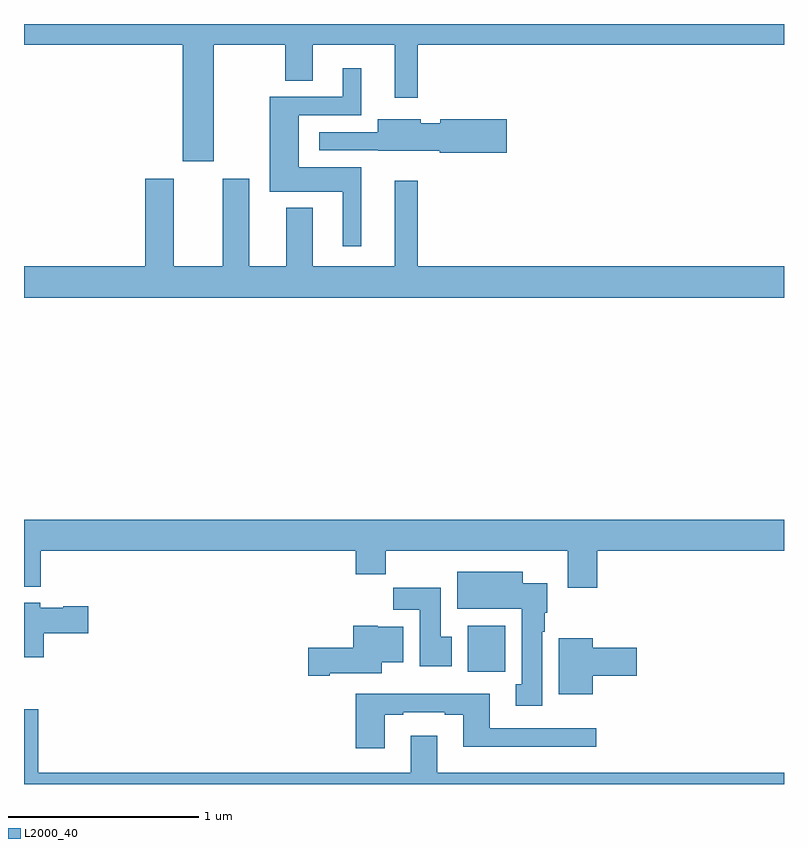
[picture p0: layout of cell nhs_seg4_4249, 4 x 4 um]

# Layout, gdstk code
import gdstk
lib = gdstk.Library(unit=1e-6, precision=1e-09)
def R(c, l, rs):  # rectangles x0, y0, x1, y1
    for r in rs: c.add(gdstk.rectangle(r[:2], r[2:], *l))
def P(c, l, *ps):  # polygons
    for p in ps: c.add(gdstk.Polygon(p, *l))
L2000_40 = (2000, 40)

nhs_seg4_4249 = lib.new_cell('nhs_seg4_4249')
R(nhs_seg4_4249, L2000_40, [(339.335,821.492,339.532,821.734)])
P(nhs_seg4_4249, L2000_40, [(337.999,824.792),(338.374,824.792),(338.374,824.602),(338.521,824.602),(338.521,824.792),(338.951,824.792),(338.951,824.511),(339.073,824.511),(339.073,824.792),(341,824.792),(341,824.9),(337,824.9),(337,824.792),(337.835,824.792),(337.835,824.178),(337.999,824.178)],
  [(338.776,824.146),(338.446,824.146),(338.446,824.421),(338.776,824.421),(338.776,824.668),(338.678,824.668),(338.678,824.517),(338.293,824.517),(338.293,824.018),(338.678,824.018),(338.678,823.731),(338.776,823.731)],
  [(339.541,824.4),(339.192,824.4),(339.192,824.377),(339.088,824.377),(339.088,824.398),(338.861,824.398),(338.861,824.331),(338.553,824.331),(338.553,824.235),(338.865,824.235),(338.865,824.234),(339.188,824.234),(339.188,824.222),(339.541,824.222)],
  [(341,823.624),(339.073,823.624),(339.073,824.074),(338.951,824.074),(338.951,823.624),(338.521,823.624),(338.521,823.933),(338.381,823.933),(338.381,823.624),(338.185,823.624),(338.185,824.086),(338.045,824.086),(338.045,823.624),(337.789,823.624),(337.789,824.086),(337.637,824.086),(337.637,823.624),(337,823.624),(337,823.46),(341,823.46)],
  [(340.016,822.128),(341,822.128),(341,822.292),(337,822.292),(337,821.939),(337.088,821.939),(337.088,822.128),(338.747,822.128),(338.747,822.004),(338.903,822.004),(338.903,822.128),(339.863,822.128),(339.863,821.934),(340.016,821.934)],
  [(339.727,821.702),(339.742,821.702),(339.742,821.802),(339.754,821.802),(339.754,821.956),(339.625,821.956),(339.625,822.016),(339.281,822.016),(339.281,821.822),(339.62,821.822),(339.62,821.426),(339.587,821.426),(339.587,821.313),(339.727,821.313)],
  [(339.25,821.676),(339.193,821.676),(339.193,821.934),(338.944,821.934),(338.944,821.816),(339.083,821.816),(339.083,821.52),(339.25,821.52)],
  [(337.103,821.693),(337.339,821.693),(337.339,821.835),(337.206,821.835),(337.206,821.827),(337.086,821.827),(337.086,821.854),(337,821.854),(337,821.568),(337.103,821.568)],
  [(338.608,821.483),(338.884,821.483),(338.884,821.54),(338.995,821.54),(338.995,821.728),(338.862,821.728),(338.862,821.734),(338.732,821.734),(338.732,821.618),(338.496,821.618),(338.496,821.471),(338.608,821.471)],
  [(339.994,821.471),(340.225,821.471),(340.225,821.618),(339.994,821.618),(339.994,821.668),(339.815,821.668),(339.815,821.372),(339.994,821.372)],
  [(338.899,821.265),(338.995,821.265),(338.995,821.277),(339.215,821.277),(339.215,821.265),(339.311,821.265),(339.311,821.096),(340.012,821.096),(340.012,821.193),(339.451,821.193),(339.451,821.374),(338.747,821.374),(338.747,821.088),(338.899,821.088)],
  [(341,820.96),(339.175,820.96),(339.175,821.155),(339.035,821.155),(339.035,820.96),(337.076,820.96),(337.076,821.293),(337,821.293),(337,820.9),(341,820.9)])

lib.write_gds('nhs_seg4_4249.gds')
